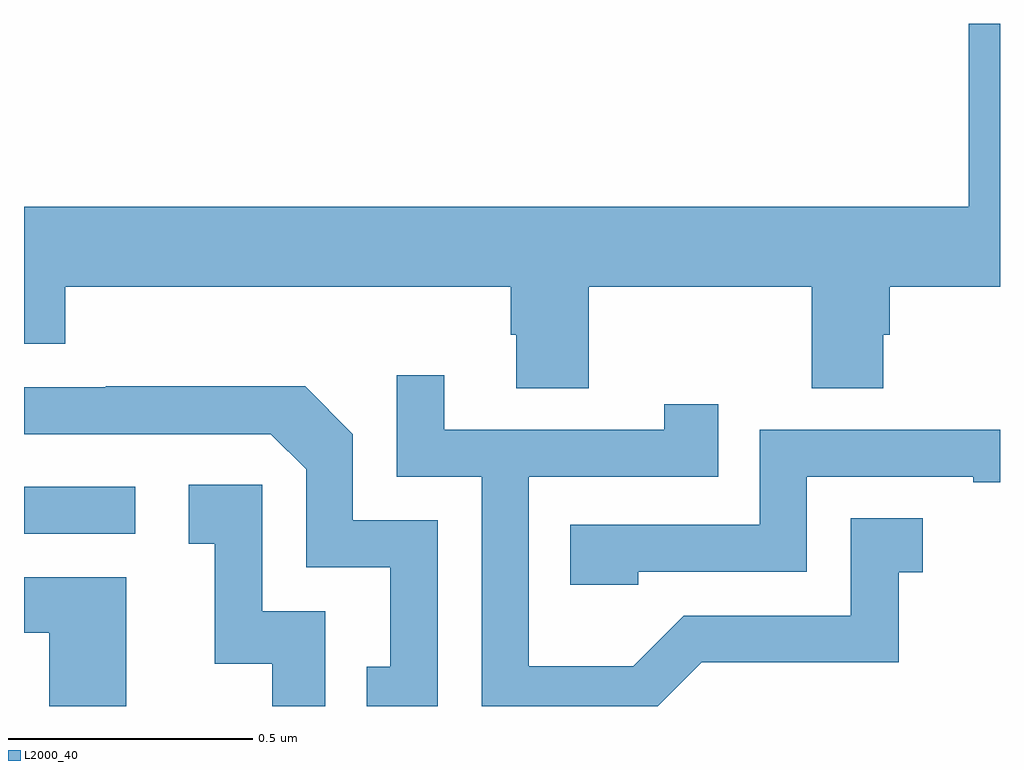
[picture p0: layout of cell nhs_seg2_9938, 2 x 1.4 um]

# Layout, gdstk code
import gdstk
lib = gdstk.Library(unit=1e-6, precision=1e-09)
def R(c, l, rs):  # rectangles x0, y0, x1, y1
    for r in rs: c.add(gdstk.rectangle(r[:2], r[2:], *l))
def P(c, l, *ps):  # polygons
    for p in ps: c.add(gdstk.Polygon(p, *l))
L2000_40 = (2000, 40)

nhs_seg2_9938 = lib.new_cell('nhs_seg2_9938')
R(nhs_seg2_9938, L2000_40, [(235,623.154,235.228,623.25)])
P(nhs_seg2_9938, L2000_40, [(235,623.543),(235.085,623.543),(235.085,623.66),(235.997,623.66),(235.997,623.562),(236.009,623.562),(236.009,623.452),(236.157,623.452),(236.157,623.66),(236.614,623.66),(236.614,623.452),(236.761,623.452),(236.761,623.562),(236.774,623.562),(236.774,623.66),(237,623.66),(237,624.199),(236.936,624.199),(236.936,623.824),(235,623.824)],
  [(236.389,622.89),(236.793,622.89),(236.793,623.075),(236.842,623.075),(236.842,623.185),(236.694,623.185),(236.694,622.986),(236.352,622.986),(236.248,622.882),(236.034,622.882),(236.034,623.271),(236.423,623.271),(236.423,623.419),(236.312,623.419),(236.312,623.367),(235.861,623.367),(235.861,623.479),(235.764,623.479),(235.764,623.271),(235.938,623.271),(235.938,622.8),(236.299,622.8)],
  [(235.848,623.181),(235.674,623.181),(235.674,623.358),(235.576,623.456),(235.168,623.456),(235.168,623.454),(235,623.454),(235,623.358),(235.506,623.358),(235.578,623.286),(235.578,623.085),(235.751,623.085),(235.751,622.881),(235.702,622.881),(235.702,622.8),(235.848,622.8)],
  [(236.259,623.076),(236.604,623.076),(236.604,623.271),(236.945,623.271),(236.945,623.259),(237,623.259),(237,623.367),(236.508,623.367),(236.508,623.172),(236.119,623.172),(236.119,623.049),(236.259,623.049)],
  [(235.617,622.995),(235.488,622.995),(235.488,623.254),(235.338,623.254),(235.338,623.133),(235.391,623.133),(235.391,622.887),(235.509,622.887),(235.509,622.8),(235.617,622.8)],
  [(235.21,623.065),(235,623.065),(235,622.951),(235.052,622.951),(235.052,622.8),(235.21,622.8)])

lib.write_gds('nhs_seg2_9938.gds')
